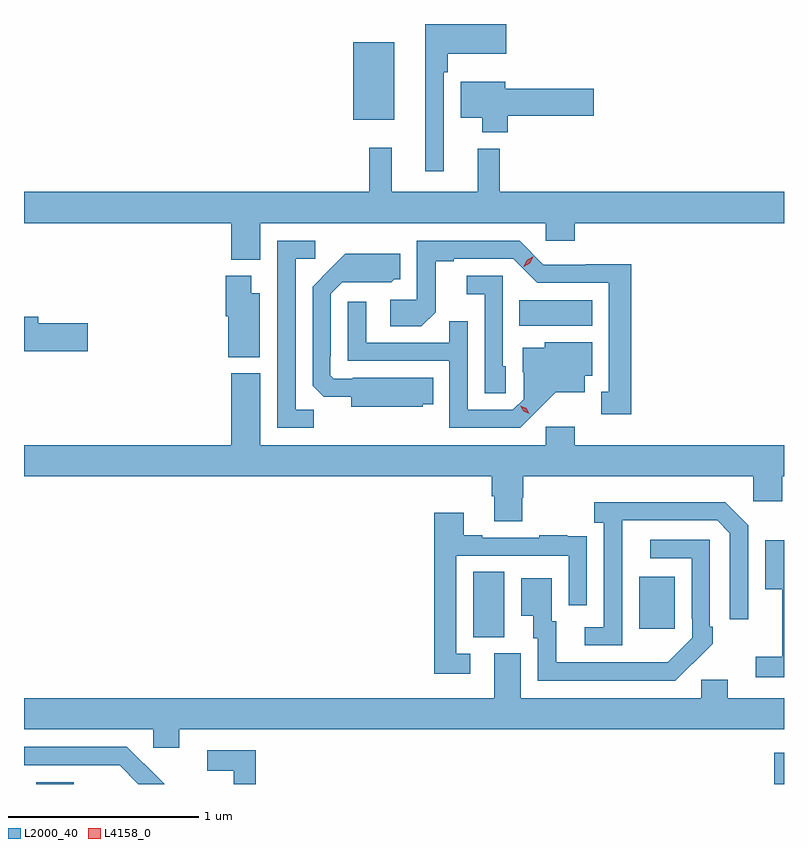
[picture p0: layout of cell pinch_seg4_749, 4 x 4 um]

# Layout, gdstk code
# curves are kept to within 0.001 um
import gdstk
lib = gdstk.Library(unit=1e-6, precision=1e-09)
def R(c, l, rs):  # rectangles x0, y0, x1, y1
    for r in rs: c.add(gdstk.rectangle(r[:2], r[2:], *l))
def P(c, l, *ps):  # polygons
    for p in ps: c.add(gdstk.Polygon(p, *l))
L2000_40 = (2000, 40)
L4158_0 = (4158, 0)

pinch_seg4_749 = lib.new_cell('pinch_seg4_749')
R(pinch_seg4_749, L2000_40, [(776.628,816.512,776.826,816.522), (780.512,816.512,780.564,816.676), (778.928,817.285,779.092,817.628), (779.801,817.329,779.989,817.603), (779.17,818.924,779.554,819.058), (778.298,820.007,778.513,820.417)])
P(pinch_seg4_749, L2000_40, [(778.773,820.259),(778.793,820.259),(778.793,820.355),(779.101,820.355),(779.101,820.512),(778.676,820.512),(778.676,819.738),(778.773,819.738)],
  [(779.111,820.03),(779.563,820.03),(779.563,820.172),(779.098,820.172),(779.098,820.207),(778.862,820.207),(778.862,820.019),(778.976,820.019),(778.976,819.941),(779.111,819.941)],
  [(777.808,819.464),(779.31,819.464),(779.31,819.371),(779.462,819.371),(779.462,819.464),(780.564,819.464),(780.564,819.628),(779.069,819.628),(779.069,819.856),(778.952,819.856),(778.952,819.628),(778.499,819.628),(778.499,819.862),(778.381,819.862),(778.381,819.628),(776.564,819.628),(776.564,819.464),(777.656,819.464),(777.656,819.272),(777.808,819.272)],
  [(778.089,818.483),(777.993,818.483),(777.993,819.276),(778.096,819.276),(778.096,819.372),(777.897,819.372),(777.897,818.388),(778.089,818.388)],
  [(779.761,819.248),(779.52,819.248),(779.52,819.246),(779.298,819.246),(779.172,819.372),(778.632,819.372),(778.632,819.06),(778.491,819.06),(778.491,818.92),(778.655,818.92),(778.731,818.996),(778.731,819.264),(778.825,819.264),(778.825,819.276),(779.139,819.276),(779.265,819.15),(779.642,819.15),(779.642,818.577),(779.603,818.577),(779.603,818.457),(779.761,818.457)],
  [(778.662,818.51),(778.718,818.51),(778.718,818.65),(778.294,818.65),(778.294,818.646),(778.194,818.646),(778.176,818.664),(778.176,818.764),(778.179,818.764),(778.179,819.093),(778.239,819.153),(778.496,819.152),(778.512,819.168),(778.543,819.168),(778.543,819.304),(778.255,819.304),(778.083,819.13),(778.083,818.608),(778.142,818.549),(778.286,818.549),(778.286,818.498),(778.662,818.498)],
  [(777.805,819.094),(777.76,819.094),(777.76,819.187),(777.626,819.187),(777.626,818.973),(777.638,818.973),(777.638,818.759),(777.805,818.759)],
  [(779.1,818.712),(779.085,818.712),(779.085,819.186),(778.893,819.186),(778.893,819.089),(778.989,819.089),(778.989,818.569),(779.1,818.569)],
  [(779.26,818.471),(779.363,818.573),(779.515,818.573),(779.515,818.66),(779.554,818.66),(779.554,818.836),(779.304,818.836),(779.304,818.809),(779.189,818.809),(779.189,818.68),(779.193,818.68),(779.193,818.538),(779.136,818.481),(778.899,818.481),(778.899,818.948),(778.801,818.948),(778.801,818.835),(778.365,818.835),(778.365,819.049),(778.269,819.049),(778.269,818.739),(778.803,818.739),(778.803,818.388),(779.176,818.388)],
  [(776.899,818.936),(776.638,818.936),(776.638,818.972),(776.564,818.972),(776.564,818.789),(776.899,818.789)],
  [(779.187,818.019),(779.192,818.019),(779.192,818.132),(780.402,818.132),(780.402,818.001),(780.554,818.001),(780.554,818.132),(780.564,818.132),(780.564,818.296),(779.462,818.296),(779.462,818.392),(779.31,818.392),(779.31,818.296),(777.808,818.296),(777.808,818.674),(777.656,818.674),(777.656,818.296),(776.564,818.296),(776.564,818.132),(779.027,818.132),(779.027,818.026),(779.039,818.026),(779.039,817.894),(779.187,817.894)],
  [(779.712,817.699),(779.713,817.899),(780.213,817.899),(780.279,817.833),(780.279,817.38),(780.375,817.38),(780.375,817.875),(780.254,817.996),(779.565,817.996),(779.565,817.886),(779.616,817.886),(779.616,817.338),(779.514,817.338),(779.514,817.242),(779.712,817.242)],
  [(778.912,817.197),(778.839,817.197),(778.839,817.713),(779.43,817.713),(779.43,817.452),(779.526,817.452),(779.526,817.706),(779.525,817.706),(779.525,817.815),(779.423,817.815),(779.423,817.822),(779.275,817.822),(779.275,817.809),(778.975,817.809),(778.975,817.822),(778.879,817.822),(778.879,817.939),(778.723,817.939),(778.723,817.092),(778.912,817.092)],
  [(780.083,817.147),(780.084,817.146),(780.189,817.251),(780.189,817.339),(780.174,817.339),(780.174,817.797),(779.859,817.797),(779.859,817.701),(780.078,817.701),(780.078,817.381),(780.081,817.381),(780.081,817.281),(779.953,817.153),(779.365,817.152),(779.365,817.368),(779.341,817.368),(779.341,817.594),(779.18,817.594),(779.18,817.397),(779.243,817.397),(779.243,817.278),(779.268,817.278),(779.268,817.056),(779.992,817.056)],
  [(780.564,817.795),(780.464,817.795),(780.464,817.538),(780.554,817.538),(780.554,817.183),(780.414,817.183),(780.414,817.074),(780.564,817.074)],
  [(777.382,816.8),(780.564,816.8),(780.564,816.964),(780.268,816.964),(780.268,817.062),(780.129,817.062),(780.129,816.964),(779.179,816.964),(779.179,817.2),(779.039,817.2),(779.039,816.964),(776.564,816.964),(776.564,816.8),(777.243,816.8),(777.243,816.702),(777.382,816.702)],
  [(777.303,816.513),(777.198,816.618),(777.197,816.617),(777.106,816.708),(776.564,816.708),(776.564,816.612),(777.067,816.612),(777.166,816.512),(777.303,816.512)],
  [(777.785,816.69),(777.528,816.69),(777.528,816.582),(777.668,816.582),(777.668,816.512),(777.785,816.512)])
P(pinch_seg4_749, L4158_0, [(779.193,819.235),(779.193,819.235),(779.211,819.268),(779.242,819.287),(779.243,819.287),(779.243,819.287),(779.225,819.254),(779.193,819.235)],
  [(779.224,818.46),(779.193,818.475),(779.176,818.504),(779.176,818.504),(779.176,818.504),(779.207,818.489),(779.224,818.46),(779.224,818.46)])

lib.write_gds('pinch_seg4_749.gds')
